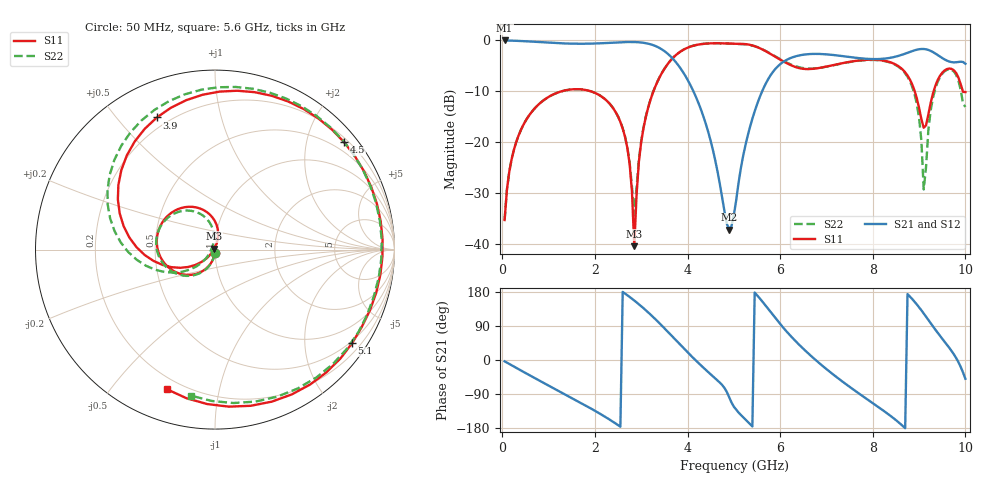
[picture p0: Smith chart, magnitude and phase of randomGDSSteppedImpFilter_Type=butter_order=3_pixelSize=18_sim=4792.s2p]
! freq	dB(S11)	phase(S11)	dB(S12)	phase(S12)
!  dB(S21)	phase(S21)	dB(S22)	phase(S22)
!S-par simulation data
#  GHz  S  DB  R 50
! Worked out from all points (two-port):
!   200 points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, 50 MHz to 10 GHz, reference 50 ohm
!   highest |S21| = -0.01 dB at 50 MHz (marker M1); lowest = -37.2 dB at 4.9 GHz (marker M2)
!   |S21| within 3 dB of the highest: start of sweep to 3.619 GHz; 6.384 GHz to 7.281 GHz (897.8 MHz wide, 13.1 % of centre) (the widest 2 of 3)
!   lowest |S11| = -40.4 dB at 2.85 GHz (marker M3), VSWR 1.02, Z = 49.3 + j0.597 ohm
!   |S11| at or under -10 dB: start of sweep to 1.277 GHz; 1.912 GHz to 3.264 GHz (1.352 GHz wide, 52.3 % of centre); 8.906 GHz to 9.314 GHz (408.4 MHz wide, 4.48 % of centre) (the widest 3 of 4)
!   |S22| runs from -35.3 to -0.6 dB; largest |S21 - S12| = 0
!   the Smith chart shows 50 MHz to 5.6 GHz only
!   S11 on the Smith chart (normalised r, x): 50 MHz: 1.00, -0.03; 3.9 GHz: 0.15, +0.64; 4.5 GHz: 0.29, +2.75; 5.1 GHz: 0.44, -3.18; 5.6 GHz: 0.15, -0.70
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0.05  -35.28 -93.1  -0.01 -3.5  -0.01 -3.5  -35.28 -92.9
0.5  -15.85 -125.4  -0.16 -34.3  -0.16 -34.3  -15.85 -123.9
1.75  -9.67 150.0  -0.65 -116.8  -0.65 -116.8  -9.66 155.9
2.6  -17.30 86.0  -0.34 179.8  -0.34 179.8  -17.27 98.8
2.85  -40.42 140.6  -0.32 157.0  -0.32 157.0  -34.19 155.3
3  -19.94 -137.3  -0.41 141.9  -0.41 141.9  -19.75 -135.4
3.4  -7.17 178.2  -1.51 96.3  -1.51 96.3  -7.15 -172.5
3.9  -1.89 113.7  -6.19 32.9  -6.19 32.9  -1.88 125.8
4.5  -0.58 39.7  -19.75 -37.8  -19.75 -37.8  -0.58 52.8
4.9  -0.61 -8.7  -37.18 -98.5  -37.18 -98.5  -0.63 3.4
5.05  -0.68 -27.9  -31.45 -130.8  -31.45 -130.8  -0.70 -16.4
5.1  -0.68 -34.3  -28.08 -138.3  -28.08 -138.3  -0.70 -23.0
5.6  -1.69 -108.9  -10.23 156.7  -10.23 156.7  -1.68 -99.4
6.15  -4.51 161.6  -3.77 73.7  -3.77 73.7  -4.39 176.2
6.7  -5.58 87.0  -2.65 7.1  -2.65 7.1  -5.53 110.5
7.5  -4.20 7.4  -3.26 -70.8  -3.26 -70.8  -4.24 31.3
8.35  -4.21 -60.2  -3.46 -144.4  -3.46 -144.4  -4.28 -44.6
8.9  -9.82 -103.9  -1.95 154.2  -1.95 154.2  -10.49 -104.8
9.1  -17.15 -77.3  -1.68 122.9  -1.68 122.9  -29.27 -95.9
9.25  -12.29 -34.4  -2.05 97.2  -2.05 97.2  -13.77 9.1
9.65  -5.52 -66.8  -4.14 32.5  -4.14 32.5  -5.68 -46.6
10  -10.14 -57.2  -4.58 -49.6  -4.58 -49.6  -13.07 -34.2
